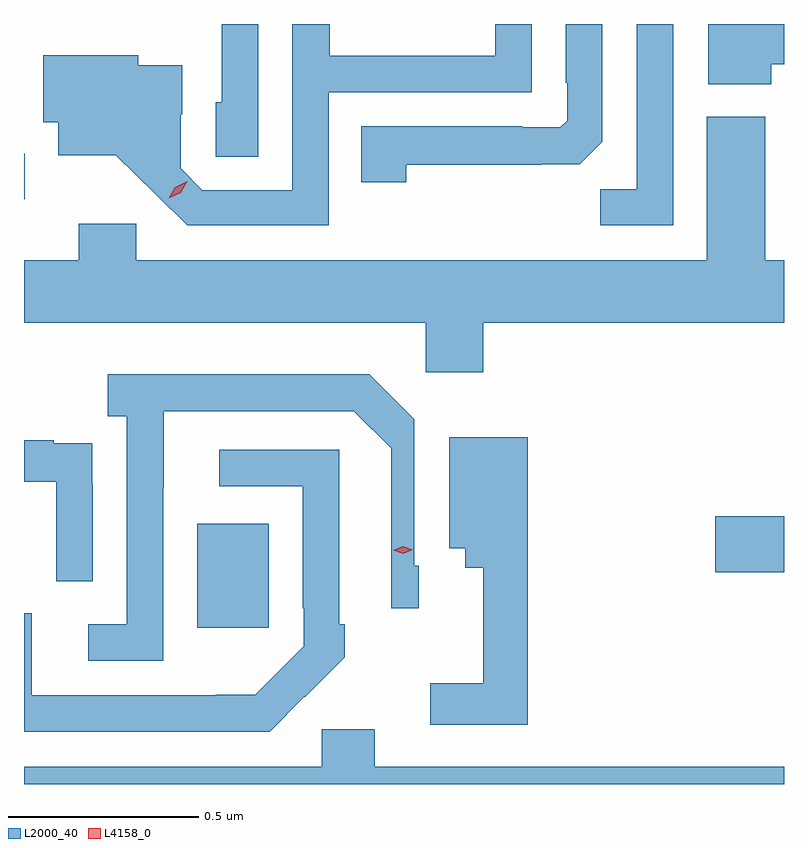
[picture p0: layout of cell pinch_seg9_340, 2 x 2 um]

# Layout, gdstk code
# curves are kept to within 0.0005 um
import gdstk
lib = gdstk.Library(unit=1e-6, precision=1e-09)
def R(c, l, rs):  # rectangles x0, y0, x1, y1
    for r in rs: c.add(gdstk.rectangle(r[:2], r[2:], *l))
def P(c, l, *ps):  # polygons
    for p in ps: c.add(gdstk.Polygon(p, *l))
L2000_40 = (2000, 40)
L4158_0 = (4158, 0)

pinch_seg9_340 = lib.new_cell('pinch_seg9_340')
R(pinch_seg9_340, L2000_40, [(638.831,1179.633,639.019,1179.907), (640.194,1179.779,640.375,1179.926), (638.375,1180.761,638.377,1180.881)])
P(pinch_seg9_340, L2000_40, [(639.381,1180.852),(639.737,1180.852),(639.737,1180.853),(639.838,1180.853),(639.897,1180.912),(639.897,1181.222),(639.801,1181.222),(639.801,1181.068),(639.804,1181.068),(639.804,1180.968),(639.786,1180.95),(639.686,1180.95),(639.686,1180.953),(639.262,1180.953),(639.262,1180.806),(639.381,1180.806)],
  [(640.342,1181.116),(640.375,1181.116),(640.375,1181.222),(640.175,1181.222),(640.175,1181.063),(640.342,1181.063)],
  [(640.083,1181.222),(639.987,1181.222),(639.987,1180.787),(639.892,1180.787),(639.892,1180.692),(640.083,1180.692)],
  [(639.177,1181.043),(639.711,1181.043),(639.711,1181.222),(639.615,1181.222),(639.615,1181.139),(639.179,1181.139),(639.179,1181.222),(639.081,1181.222),(639.081,1180.785),(638.844,1180.785),(638.787,1180.842),(638.787,1180.984),(638.791,1180.984),(638.791,1181.113),(638.676,1181.113),(638.676,1181.14),(638.426,1181.14),(638.426,1180.964),(638.465,1180.964),(638.465,1180.877),(638.617,1180.877),(638.804,1180.692),(639.177,1180.692)],
  [(638.991,1181.222),(638.895,1181.222),(638.895,1181.016),(638.88,1181.016),(638.88,1180.873),(638.991,1180.873)],
  [(638.67,1180.696),(638.519,1180.696),(638.519,1180.6),(638.375,1180.6),(638.375,1180.436),(639.432,1180.436),(639.432,1180.305),(639.584,1180.305),(639.584,1180.436),(640.375,1180.436),(640.375,1180.6),(640.325,1180.6),(640.325,1180.978),(640.172,1180.978),(640.172,1180.6),(638.67,1180.6)],
  [(638.742,1180.003),(638.743,1180.003),(638.743,1180.203),(639.243,1180.203),(639.341,1180.105),(639.341,1179.684),(639.414,1179.684),(639.414,1179.796),(639.402,1179.796),(639.402,1180.182),(639.284,1180.3),(638.595,1180.3),(638.595,1180.19),(638.646,1180.19),(638.646,1179.642),(638.544,1179.642),(638.544,1179.546),(638.742,1179.546)],
  [(639.701,1180.135),(639.494,1180.135),(639.494,1179.842),(639.536,1179.842),(639.536,1179.791),(639.584,1179.791),(639.584,1179.487),(639.444,1179.487),(639.444,1179.378),(639.701,1179.378)],
  [(638.556,1180.01),(638.555,1180.01),(638.555,1180.119),(638.453,1180.119),(638.453,1180.126),(638.375,1180.126),(638.375,1180.017),(638.46,1180.017),(638.46,1179.756),(638.556,1179.756)],
  [(639.113,1179.451),(639.114,1179.45),(639.219,1179.555),(639.219,1179.643),(639.205,1179.643),(639.205,1180.101),(638.889,1180.101),(638.889,1180.005),(639.108,1180.005),(639.108,1179.685),(639.111,1179.685),(639.111,1179.585),(638.983,1179.457),(638.879,1179.457),(638.879,1179.456),(638.395,1179.456),(638.395,1179.672),(638.375,1179.672),(638.375,1179.36),(639.022,1179.36)],
  [(640.375,1179.268),(639.298,1179.268),(639.298,1179.366),(639.159,1179.366),(639.159,1179.268),(638.375,1179.268),(638.375,1179.222),(640.375,1179.222)])
P(pinch_seg9_340, L4158_0, [(639.373,1179.828),(639.347,1179.837),(639.347,1179.837),(639.347,1179.837),(639.372,1179.848),(639.398,1179.839),(639.398,1179.839),(639.398,1179.838)],
  [(638.756,1180.764),(638.756,1180.764),(638.773,1180.793),(638.804,1180.808),(638.804,1180.808),(638.804,1180.808),(638.787,1180.778),(638.756,1180.764)])

lib.write_gds('pinch_seg9_340.gds')
